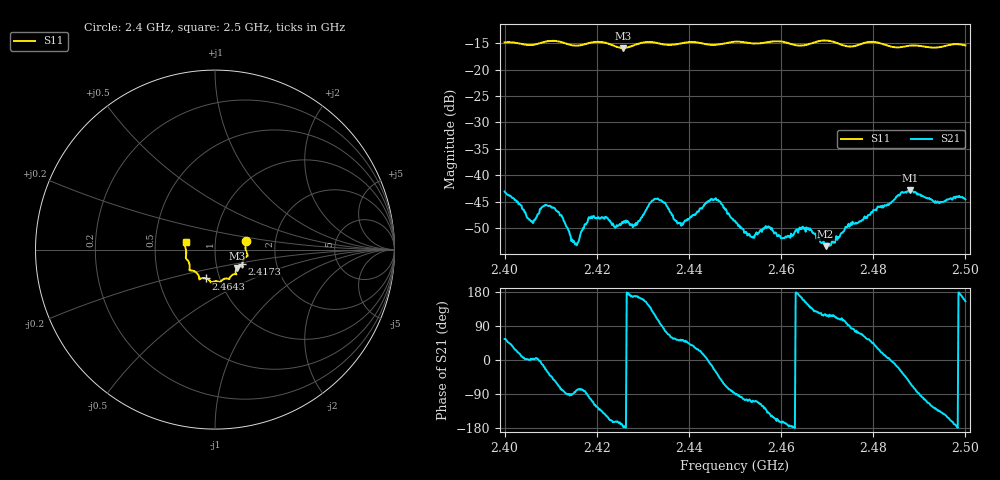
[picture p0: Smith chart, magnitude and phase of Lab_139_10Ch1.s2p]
# Hz S RI R 50
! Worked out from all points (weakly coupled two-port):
!   601 points, 2.4 GHz to 2.5 GHz, reference 50 ohm
!   highest |S21| = -42.85 dB at 2.488 GHz (marker M1); lowest = -53.4 dB at 2.4697 GHz (marker M2)
!   lowest |S11| = -15.9 dB at 2.4257 GHz (marker M3), VSWR 1.38, Z = 62.4 - j13.1 ohm
!   |S11| at or under -10 dB: start of sweep to end of sweep
!   S12 and S22 are empty: the file has one direction only
!   S11 on the Smith chart (normalised r, x): 2.4 GHz: 1.41, +0.14; 2.4173 GHz: 1.34, -0.23; 2.4643 GHz: 0.86, -0.28; 2.5 GHz: 0.72, +0.06
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2.4e9  0.1736 0.0496  0.00398 0.00577  0 0  0 0
2.405667e9  0.17 0.00506  0.00368 0.000218  0 0  0 0
2.409333e9  0.1826 -0.0305  0.00436 -0.00272  0 0  0 0
2.412167e9  0.1787 -0.0368  0.000906 -0.00407  0 0  0 0
2.415e9  0.159 -0.0558  7.37e-05 -0.00239  0 0  0 0
2.416667e9  0.1528 -0.0749  0.000669 -0.00289  0 0  0 0
2.417333e9  0.1522 -0.0824  0.000478 -0.00334  0 0  0 0
2.418833e9  0.1531 -0.0941  -0.00111 -0.00392  0 0  0 0
2.425667e9  0.1226 -0.1026  -0.00349 -0.000301  0 0  0 0
2.428333e9  0.1152 -0.1268  -0.00328 0.000651  0 0  0 0
2.433333e9  0.1126 -0.1366  -0.00156 0.00577  0 0  0 0
2.438e9  0.0831 -0.1546  0.00215 0.00276  0 0  0 0
2.445333e9  0.0525 -0.1626  0.00534 -0.00226  0 0  0 0
2.45e9  0.0296 -0.1809  9.51e-05 -0.00371  0 0  0 0
2.453667e9  0.0124 -0.1763  -0.000938 -0.00243  0 0  0 0
2.464333e9  -0.0501 -0.1606  -0.00309 0.000814  0 0  0 0
2.466667e9  -0.0764 -0.1599  -0.00216 0.00205  0 0  0 0
2.469667e9  -0.088 -0.1664  -0.00106 0.00185  0 0  0 0
2.483333e9  -0.1409 -0.0894  0.00518 0.000506  0 0  0 0
2.488e9  -0.1605 -0.051  0.00349 -0.0063  0 0  0 0
2.493833e9  -0.1614 -0.00358  -0.00364 -0.00425  0 0  0 0
2.5e9  -0.1636 0.0417  -0.00535 0.00251  0 0  0 0
